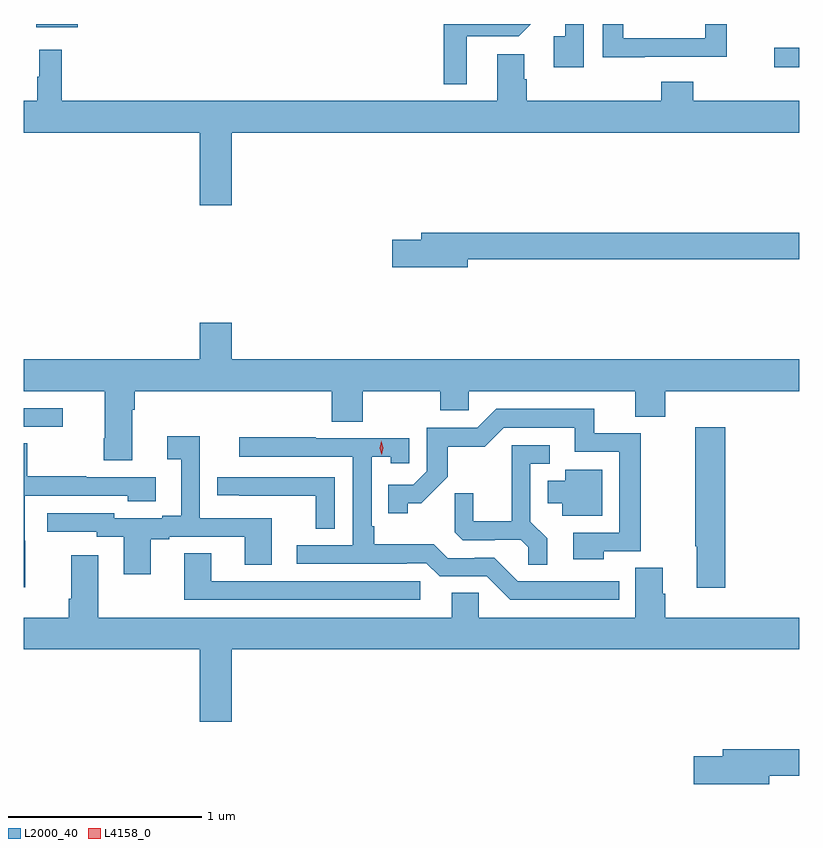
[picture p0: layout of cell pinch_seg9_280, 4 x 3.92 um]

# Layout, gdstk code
import gdstk
lib = gdstk.Library(unit=1e-6, precision=1e-09)
def R(c, l, rs):  # rectangles x0, y0, x1, y1
    for r in rs: c.add(gdstk.rectangle(r[:2], r[2:], *l))
def P(c, l, *ps):  # polygons
    for p in ps: c.add(gdstk.Polygon(p, *l))
L2000_40 = (2000, 40)
L4158_0 = (4158, 0)

pinch_seg9_280 = lib.new_cell('pinch_seg9_280')
R(pinch_seg9_280, L2000_40, [(487.776,1189.575,487.978,1189.671), (491.646,1191.431,491.776,1191.53), (487.841,1191.635,488.056,1191.653)])
P(pinch_seg9_280, L2000_40, [(490.06,1191.591),(490.33,1191.591),(490.392,1191.653),(489.943,1191.653),(489.943,1191.342),(490.06,1191.342)],
  [(490.665,1191.653),(490.569,1191.653),(490.569,1191.59),(490.509,1191.59),(490.509,1191.429),(490.665,1191.429)],
  [(490.979,1191.483),(491.401,1191.483),(491.401,1191.653),(491.292,1191.653),(491.292,1191.579),(490.867,1191.579),(490.867,1191.653),(490.763,1191.653),(490.763,1191.481),(490.979,1191.481)],
  [(488.848,1191.092),(491.776,1191.092),(491.776,1191.256),(491.228,1191.256),(491.228,1191.355),(491.063,1191.355),(491.063,1191.256),(490.37,1191.256),(490.37,1191.368),(490.357,1191.368),(490.357,1191.496),(490.217,1191.496),(490.217,1191.256),(487.973,1191.256),(487.973,1191.52),(487.856,1191.52),(487.856,1191.38),(487.845,1191.38),(487.845,1191.256),(487.776,1191.256),(487.776,1191.092),(488.684,1191.092),(488.684,1190.718),(488.848,1190.718)],
  [(490.066,1190.44),(491.776,1190.44),(491.776,1190.576),(489.827,1190.576),(489.827,1190.54),(489.678,1190.54),(489.678,1190.398),(490.066,1190.398)],
  [(488.848,1190.113),(488.684,1190.113),(488.684,1189.924),(487.776,1189.924),(487.776,1189.76),(488.195,1189.76),(488.195,1189.516),(488.188,1189.516),(488.188,1189.404),(488.335,1189.404),(488.335,1189.664),(488.348,1189.664),(488.348,1189.76),(489.365,1189.76),(489.365,1189.603),(489.525,1189.603),(489.525,1189.76),(489.925,1189.76),(489.925,1189.662),(490.071,1189.662),(490.071,1189.76),(490.931,1189.76),(490.931,1189.627),(491.084,1189.627),(491.084,1189.76),(491.776,1189.76),(491.776,1189.924),(488.848,1189.924)],
  [(490.767,1188.933),(490.957,1188.933),(490.957,1189.542),(490.718,1189.542),(490.718,1189.668),(490.212,1189.668),(490.116,1189.572),(489.855,1189.572),(489.855,1189.347),(489.786,1189.278),(489.655,1189.278),(489.655,1189.131),(489.756,1189.131),(489.756,1189.181),(489.826,1189.181),(489.964,1189.318),(489.964,1189.474),(490.153,1189.474),(490.251,1189.572),(490.619,1189.572),(490.619,1189.446),(490.848,1189.446),(490.848,1189.029),(490.611,1189.029),(490.611,1188.893),(490.767,1188.893)],
  [(491.393,1189.573),(491.239,1189.573),(491.239,1188.959),(491.246,1188.959),(491.246,1188.747),(491.393,1188.747)],
  [(488.431,1188.996),(488.527,1188.996),(488.527,1189.008),(488.915,1189.008),(488.915,1188.865),(489.055,1188.865),(489.055,1189.104),(488.685,1189.104),(488.685,1189.528),(488.517,1189.528),(488.517,1189.408),(488.588,1189.408),(488.588,1189.117),(488.492,1189.117),(488.492,1189.104),(488.244,1189.104),(488.244,1189.131),(487.899,1189.131),(487.899,1189.035),(488.154,1189.035),(488.154,1189.008),(488.291,1189.008),(488.291,1188.816),(488.431,1188.816)],
  [(490.846,1188.78),(490.323,1188.78),(490.203,1188.9),(490.102,1188.9),(490.102,1188.897),(489.963,1188.897),(489.89,1188.97),(489.583,1188.97),(489.583,1189.063),(489.57,1189.063),(489.57,1189.421),(489.669,1189.421),(489.669,1189.389),(489.765,1189.389),(489.765,1189.518),(489.281,1189.518),(489.281,1189.521),(488.889,1189.521),(488.889,1189.422),(489.474,1189.422),(489.474,1188.966),(489.183,1188.966),(489.183,1188.87),(489.752,1188.87),(489.752,1188.873),(489.852,1188.873),(489.921,1188.804),(490.164,1188.804),(490.284,1188.684),(490.846,1188.684)],
  [(487.785,1188.989),(487.782,1188.989),(487.782,1189.221),(488.313,1189.221),(488.313,1189.193),(488.458,1189.193),(488.458,1189.317),(488.099,1189.317),(488.099,1189.32),(487.795,1189.32),(487.795,1189.49),(487.776,1189.49),(487.776,1188.749),(487.785,1188.749)],
  [(490.475,1189.001),(490.389,1189.087),(490.389,1189.386),(490.489,1189.386),(490.489,1189.482),(490.292,1189.482),(490.292,1189.09),(490.094,1189.09),(490.094,1189.233),(490,1189.233),(490,1189.031),(490.041,1188.99),(490.206,1188.99),(490.206,1188.993),(490.34,1188.993),(490.377,1188.956),(490.377,1188.865),(490.475,1188.865)],
  [(490.759,1189.354),(490.568,1189.354),(490.568,1189.297),(490.478,1189.297),(490.478,1189.181),(490.553,1189.181),(490.553,1189.118),(490.759,1189.118)],
  [(489.381,1189.317),(488.775,1189.317),(488.775,1189.222),(488.887,1189.222),(488.887,1189.221),(489.283,1189.221),(489.283,1189.051),(489.381,1189.051)],
  [(489.82,1188.78),(488.743,1188.78),(488.743,1188.923),(488.603,1188.923),(488.603,1188.684),(489.82,1188.684)],
  [(488.848,1188.428),(491.776,1188.428),(491.776,1188.592),(491.084,1188.592),(491.084,1188.714),(491.071,1188.714),(491.071,1188.848),(490.931,1188.848),(490.931,1188.592),(490.122,1188.592),(490.122,1188.719),(489.983,1188.719),(489.983,1188.592),(488.161,1188.592),(488.161,1188.913),(488.021,1188.913),(488.021,1188.688),(488.009,1188.688),(488.009,1188.592),(487.776,1188.592),(487.776,1188.428),(488.684,1188.428),(488.684,1188.054),(488.848,1188.054)],
  [(491.62,1187.776),(491.776,1187.776),(491.776,1187.912),(491.381,1187.912),(491.381,1187.876),(491.232,1187.876),(491.232,1187.734),(491.62,1187.734)])
P(pinch_seg9_280, L4158_0, [(489.622,1189.431),(489.622,1189.431),(489.611,1189.466),(489.619,1189.502),(489.619,1189.503),(489.62,1189.502),(489.631,1189.467),(489.622,1189.431)])

lib.write_gds('pinch_seg9_280.gds')
